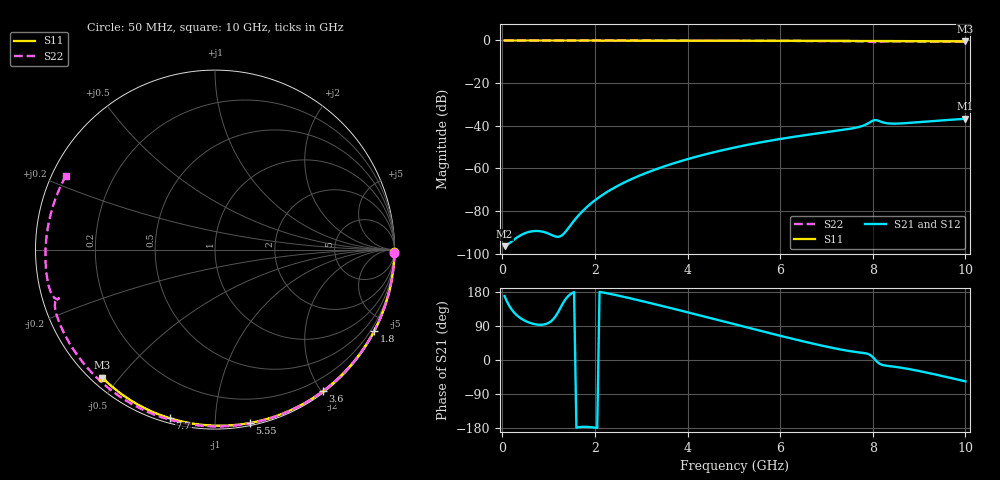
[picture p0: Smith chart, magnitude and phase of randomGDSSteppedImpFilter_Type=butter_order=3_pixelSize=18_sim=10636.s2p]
! freq	dB(S11)	phase(S11)	dB(S12)	phase(S12)
!  dB(S21)	phase(S21)	dB(S22)	phase(S22)
!S-par simulation data
#  GHz  S  DB  R 50
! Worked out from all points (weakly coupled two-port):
!   200 points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, 50 MHz to 10 GHz, reference 50 ohm
!   highest |S21| = -36.74 dB at 10 GHz (marker M1); lowest = -96.4 dB at 50 MHz (marker M2)
!   lowest |S11| = -0.4 dB at 10 GHz (marker M3), VSWR 39.17, Z = 1.54 - j22.6 ohm
!   |S11| at or under -10 dB: nowhere
!   |S22| runs from -0.8 to 0.0 dB; largest |S21 - S12| = 0
!   S11 on the Smith chart (normalised r, x): 50 MHz: open; 1.8 GHz: 0.04, -4.18; 3.6 GHz: 0.02, -2.02; 5.55 GHz: 0.02, -1.22; 7.7 GHz: 0.02, -0.77; 10 GHz: 0.03, -0.45
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0.05  -0.00 -0.8  -96.45 168.6  -96.45 168.6  -0.00 -1.1
0.85  -0.01 -12.8  -89.56 93.0  -89.56 93.0  -0.02 -18.9
1.7  -0.03 -25.4  -80.77 -176.7  -80.77 -176.7  -0.05 -37.3
1.75  -0.03 -26.2  -79.67 -176.4  -79.67 -176.4  -0.05 -38.4
1.8  -0.03 -26.9  -78.62 -176.3  -78.62 -176.3  -0.05 -39.5
2.1  -0.04 -31.3  -73.36 179.7  -73.36 179.7  -0.06 -45.8
2.45  -0.05 -36.4  -68.67 171.4  -68.67 171.4  -0.07 -53.2
2.9  -0.06 -42.8  -63.95 158.9  -63.95 158.9  -0.08 -62.5
3.4  -0.07 -49.9  -59.76 144.2  -59.76 144.2  -0.10 -72.7
3.6  -0.07 -52.6  -58.29 138.2  -58.29 138.2  -0.10 -76.7
4.3  -0.09 -62.2  -53.87 116.7  -53.87 116.7  -0.13 -90.5
5.05  -0.11 -72.2  -50.04 93.3  -50.04 93.3  -0.16 -105.0
5.55  -0.13 -78.6  -47.89 77.7  -47.89 77.7  -0.19 -114.5
6.1  -0.15 -85.6  -45.84 60.9  -45.84 60.9  -0.22 -124.9
6.7  -0.18 -93.0  -43.89 43.5  -43.89 43.5  -0.27 -136.4
7.7  -0.24 -105.0  -40.56 20.1  -40.56 20.1  -0.39 -156.3
7.9  -0.25 -107.3  -38.85 15.9  -38.85 15.9  -0.50 -160.8
8.05  -0.26 -109.1  -37.31 1.0  -37.31 1.0  -0.82 -162.6
8.15  -0.27 -110.2  -37.86 -10.1  -37.86 -10.1  -0.59 -163.3
8.35  -0.29 -112.6  -38.92 -15.9  -38.92 -15.9  -0.46 -168.1
9.2  -0.36 -122.3  -37.96 -34.2  -37.96 -34.2  -0.54 172.8
10  -0.44 -131.3  -36.74 -56.3  -36.74 -56.3  -0.65 153.6
